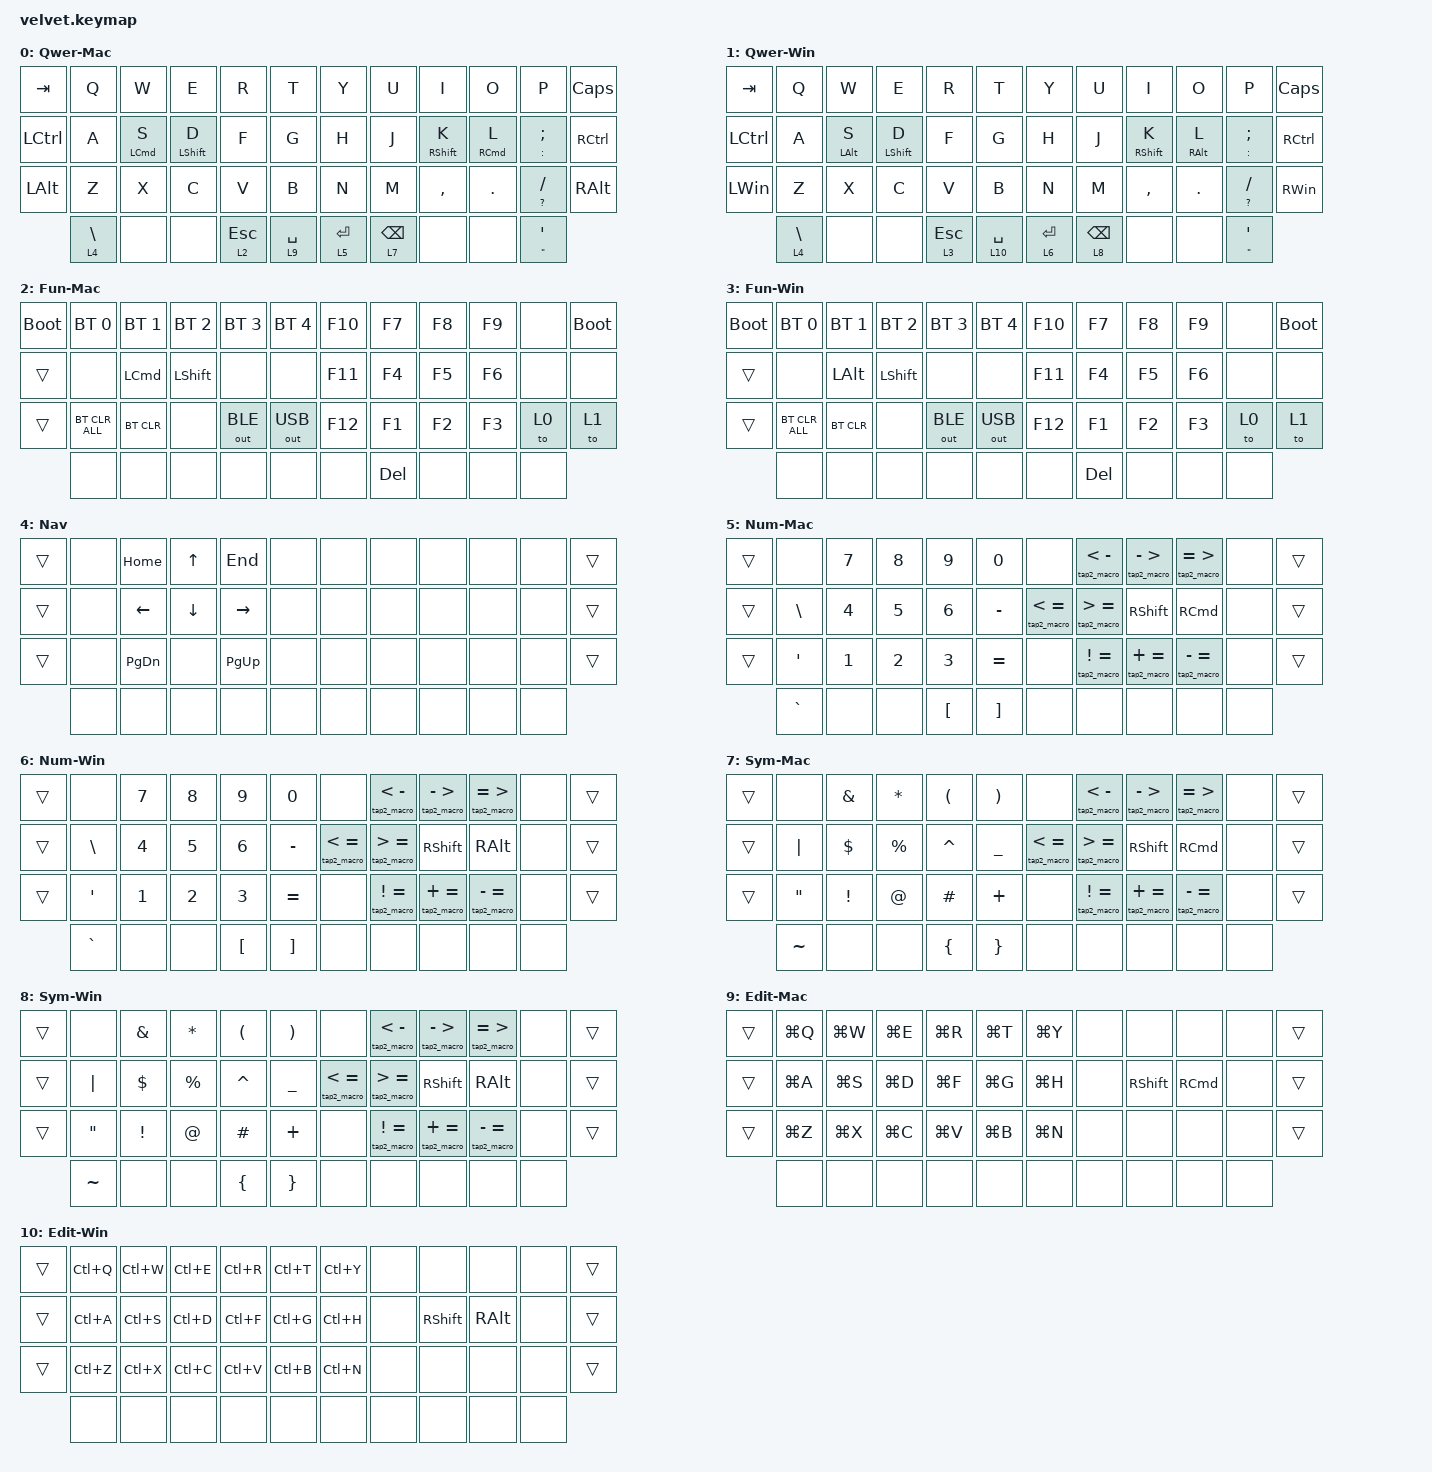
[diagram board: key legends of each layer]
/*
 * Copyright (c) 2020 The ZMK Contributors
 *
 * SPDX-License-Identifier: MIT
 */

#include <behaviors.dtsi>
#include <dt-bindings/zmk/bt.h>
#include <dt-bindings/zmk/keys.h>
#include <dt-bindings/zmk/outputs.h>

/ {
    behaviors {
        as: autoshift {
            compatible = "zmk,behavior-hold-tap";
            label = "AUTOSHIFT";
            bindings = <&kp>, <&kp>;

            #binding-cells = <2>;
            tapping-term-ms = <170>;
            quick-tap-ms = <130>;
            require-prior-idle-ms = <100>;
            flavor = "tap-preferred";
        };

        hml: hrm_left {
            compatible = "zmk,behavior-hold-tap";
            label = "HRM_LEFT";
            bindings = <&kp>, <&kp>;

            #binding-cells = <2>;
            tapping-term-ms = <220>;
            quick-tap-ms = <175>;
            require-prior-idle-ms = <60>;
            flavor = "balanced";
            hold-trigger-key-positions = <30 18 8 7 32 21 23 44 43 45 41 42 31 19 6 20 9 33 34 22 10 11 35>;
            hold-trigger-on-release;
        };

        hmr: hrm_right {
            compatible = "zmk,behavior-hold-tap";
            label = "HRM_RIGHT";
            bindings = <&kp>, <&kp>;

            #binding-cells = <2>;
            tapping-term-ms = <220>;
            quick-tap-ms = <175>;
            require-prior-idle-ms = <60>;
            flavor = "balanced";
            hold-trigger-on-release;
            hold-trigger-key-positions = <26 13 24 1 0 12 3 4 2 5 14 15 29 17 16 25 38 37 27 28 39 40 36>;
        };

        mol: mo_left {
            compatible = "zmk,behavior-hold-tap";
            label = "MO_LEFT";
            bindings = <&mo>, <&kp>;

            #binding-cells = <2>;
            tapping-term-ms = <220>;
            quick-tap-ms = <175>;
            require-prior-idle-ms = <60>;
            flavor = "balanced";
            hold-trigger-key-positions = <19 21 30 31 43 32 33 44 34 35 23 22 10 11 9 8 20 7 6 18 42 41 45>;
            hold-trigger-on-release;
        };

        mor: mo_right {
            compatible = "zmk,behavior-hold-tap";
            label = "MO_RIGHT";
            bindings = <&mo>, <&kp>;

            #binding-cells = <2>;
            tapping-term-ms = <220>;
            quick-tap-ms = <175>;
            require-prior-idle-ms = <60>;
            flavor = "balanced";
            hold-trigger-key-positions = <26 13 24 1 0 12 3 4 2 5 14 15 29 17 16 25 38 37 27 28 39 40 36>;
            hold-trigger-on-release;
        };
    };

    macros {
        tap2_macro: tap2_macro {
            compatible = "zmk,behavior-macro-two-param";
            label = "TAP2_MACRO";
            #binding-cells = <2>;
            bindings =
                <&macro_param_1to1>,
                <&macro_tap>,
                <&kp MACRO_PLACEHOLDER &macro_param_2to1>,
                <&macro_tap>,
                <&kp MACRO_PLACEHOLDER>;
        };
    };

    keymap {
        compatible = "zmk,keymap";

        Qwer-Mac {
            bindings = <
&kp TAB           &kp Q             &kp W            &kp E              &kp R       &kp T         &kp Y          &kp U             &kp I               &kp O             &kp P                           &kp CAPSLOCK
&kp LEFT_CONTROL  &kp A             &hml LCMD     S  &hml LEFT_SHIFT D  &kp F       &kp G         &kp H          &kp J             &hmr RIGHT_SHIFT K  &hmr RCMD      L  &as COLON SEMI                  &kp RIGHT_CONTROL
&kp LALT          &kp Z             &kp X            &kp C              &kp V       &kp B         &kp N          &kp M             &kp COMMA           &kp DOT           &as QUESTION SLASH              &kp RALT
                  &mor 4 BACKSLASH  &none            &none              &mol 2 ESC  &mor 9 SPACE  &mor 5 RETURN  &mor 7 BACKSPACE  &none               &none             &as DOUBLE_QUOTES SINGLE_QUOTE
            >;
        };

        Qwer-Win {
            bindings = <
&kp TAB           &kp Q             &kp W            &kp E              &kp R       &kp T         &kp Y          &kp U             &kp I               &kp O             &kp P                           &kp CAPSLOCK
&kp LEFT_CONTROL  &kp A             &hml LEFT_ALT S  &hml LEFT_SHIFT D  &kp F       &kp G         &kp H          &kp J             &hmr RIGHT_SHIFT K  &hmr RIGHT_ALT L  &as COLON SEMI                  &kp RIGHT_CONTROL
&kp LWIN          &kp Z             &kp X            &kp C              &kp V       &kp B         &kp N          &kp M             &kp COMMA           &kp DOT           &as QUESTION SLASH              &kp RWIN
                  &mor 4 BACKSLASH  &none            &none              &mol 3 ESC  &mor 10 SPACE &mor 6 RETURN  &mor 8 BACKSPACE  &none               &none             &as DOUBLE_QUOTES SINGLE_QUOTE
            >;
        };

        Fun-Mac {
            bindings = <
&bootloader  &bt BT_SEL 0    &bt BT_SEL 1  &bt BT_SEL 2    &bt BT_SEL 3  &bt BT_SEL 4  &kp F10  &kp F7      &kp F8  &kp F9  &none  &bootloader
&trans       &none           &kp LCMD      &kp LEFT_SHIFT  &none         &none         &kp F11  &kp F4      &kp F5  &kp F6  &none  &none
&trans       &bt BT_CLR_ALL  &bt BT_CLR    &none           &out OUT_BLE  &out OUT_USB  &kp F12  &kp F1      &kp F2  &kp F3  &to 0  &to 1
             &none           &none         &none           &none         &none         &none    &kp DELETE  &none   &none   &none
            >;
        };

        Fun-Win {
            bindings = <
&bootloader  &bt BT_SEL 0    &bt BT_SEL 1  &bt BT_SEL 2    &bt BT_SEL 3  &bt BT_SEL 4  &kp F10  &kp F7      &kp F8  &kp F9  &none  &bootloader
&trans       &none           &kp LEFT_ALT  &kp LEFT_SHIFT  &none         &none         &kp F11  &kp F4      &kp F5  &kp F6  &none  &none
&trans       &bt BT_CLR_ALL  &bt BT_CLR    &none           &out OUT_BLE  &out OUT_USB  &kp F12  &kp F1      &kp F2  &kp F3  &to 0  &to 1
             &none           &none         &none           &none         &none         &none    &kp DELETE  &none   &none   &none
            >;
        };

        Nav {
            bindings = <
&trans  &none  &kp HOME        &kp UP_ARROW    &kp END          &none  &none  &none  &none  &none  &none  &trans
&trans  &none  &kp LEFT_ARROW  &kp DOWN_ARROW  &kp RIGHT_ARROW  &none  &none  &none  &none  &none  &none  &trans
&trans  &none  &kp PAGE_DOWN   &none           &kp PAGE_UP      &none  &none  &none  &none  &none  &none  &trans
        &none  &none           &none           &none            &none  &none  &none  &none  &none  &none
            >;
        };

        Num-Mac {
            bindings = <
&trans  &none             &kp N7  &kp N8  &kp N9            &kp N0             &none                        &tap2_macro LESS_THAN MINUS     &tap2_macro MINUS GREATER_THAN  &tap2_macro EQUAL GREATER_THAN  &none  &trans
&trans  &kp BACKSLASH     &kp N4  &kp N5  &kp N6            &kp MINUS          &tap2_macro LESS_THAN EQUAL  &tap2_macro GREATER_THAN EQUAL  &kp RIGHT_SHIFT                 &kp RCMD                        &none  &trans
&trans  &kp SINGLE_QUOTE  &kp N1  &kp N2  &kp N3            &kp EQUAL          &none                        &tap2_macro EXCL EQUAL          &tap2_macro PLUS EQUAL          &tap2_macro MINUS EQUAL         &none  &trans
        &kp GRAVE         &none   &none   &kp LEFT_BRACKET  &kp RIGHT_BRACKET  &none                        &none                           &none                           &none                           &none
            >;
        };

        Num-Win {
            bindings = <
&trans  &none             &kp N7  &kp N8  &kp N9            &kp N0             &none                        &tap2_macro LESS_THAN MINUS     &tap2_macro MINUS GREATER_THAN  &tap2_macro EQUAL GREATER_THAN  &none  &trans
&trans  &kp BACKSLASH     &kp N4  &kp N5  &kp N6            &kp MINUS          &tap2_macro LESS_THAN EQUAL  &tap2_macro GREATER_THAN EQUAL  &kp RIGHT_SHIFT                 &kp RIGHT_ALT                   &none  &trans
&trans  &kp SINGLE_QUOTE  &kp N1  &kp N2  &kp N3            &kp EQUAL          &none                        &tap2_macro EXCL EQUAL          &tap2_macro PLUS EQUAL          &tap2_macro MINUS EQUAL         &none  &trans
        &kp GRAVE         &none   &none   &kp LEFT_BRACKET  &kp RIGHT_BRACKET  &none                        &none                           &none                           &none                           &none
            >;
        };

        Sym-Mac {
            bindings = <
&trans  &none              &kp AMPERSAND    &kp ASTERISK  &kp LEFT_PARENTHESIS  &kp RIGHT_PARENTHESIS  &none                        &tap2_macro LESS_THAN MINUS     &tap2_macro MINUS GREATER_THAN  &tap2_macro EQUAL GREATER_THAN  &none  &trans
&trans  &kp PIPE           &kp DOLLAR       &kp PERCENT   &kp CARET             &kp UNDERSCORE         &tap2_macro LESS_THAN EQUAL  &tap2_macro GREATER_THAN EQUAL  &kp RIGHT_SHIFT                 &kp RCMD                        &none  &trans
&trans  &kp DOUBLE_QUOTES  &kp EXCLAMATION  &kp AT        &kp HASH              &kp PLUS               &none                        &tap2_macro EXCL EQUAL          &tap2_macro PLUS EQUAL          &tap2_macro MINUS EQUAL         &none  &trans
        &kp TILDE          &none            &none         &kp LEFT_BRACE        &kp RIGHT_BRACE        &none                        &none                           &none                           &none                           &none
            >;
        };

        Sym-Win {
            bindings = <
&trans  &none              &kp AMPERSAND    &kp ASTERISK  &kp LEFT_PARENTHESIS  &kp RIGHT_PARENTHESIS  &none                        &tap2_macro LESS_THAN MINUS     &tap2_macro MINUS GREATER_THAN  &tap2_macro EQUAL GREATER_THAN  &none  &trans
&trans  &kp PIPE           &kp DOLLAR       &kp PERCENT   &kp CARET             &kp UNDERSCORE         &tap2_macro LESS_THAN EQUAL  &tap2_macro GREATER_THAN EQUAL  &kp RIGHT_SHIFT                 &kp RIGHT_ALT                   &none  &trans
&trans  &kp DOUBLE_QUOTES  &kp EXCLAMATION  &kp AT        &kp HASH              &kp PLUS               &none                        &tap2_macro EXCL EQUAL          &tap2_macro PLUS EQUAL          &tap2_macro MINUS EQUAL         &none  &trans
        &kp TILDE          &none            &none         &kp LEFT_BRACE        &kp RIGHT_BRACE        &none                        &none                           &none                           &none                           &none
            >;
        };

        Edit-Mac {
            bindings = <
&trans  &kp LG(Q)  &kp LG(W)  &kp LG(E)  &kp LG(R)  &kp LG(T)  &kp LG(Y)  &none  &none            &none          &none  &trans
&trans  &kp LG(A)  &kp LG(S)  &kp LG(D)  &kp LG(F)  &kp LG(G)  &kp LG(H)  &none  &kp RIGHT_SHIFT  &kp RCMD       &none  &trans
&trans  &kp LG(Z)  &kp LG(X)  &kp LG(C)  &kp LG(V)  &kp LG(B)  &kp LG(N)  &none  &none            &none          &none  &trans
        &none      &none      &none      &none      &none      &none      &none  &none            &none          &none
            >;
        };

        Edit-Win {
            bindings = <
&trans  &kp LC(Q)  &kp LC(W)  &kp LC(E)  &kp LC(R)  &kp LC(T)  &kp LC(Y)  &none  &none            &none          &none  &trans
&trans  &kp LC(A)  &kp LC(S)  &kp LC(D)  &kp LC(F)  &kp LC(G)  &kp LC(H)  &none  &kp RIGHT_SHIFT  &kp RIGHT_ALT  &none  &trans
&trans  &kp LC(Z)  &kp LC(X)  &kp LC(C)  &kp LC(V)  &kp LC(B)  &kp LC(N)  &none  &none            &none          &none  &trans
        &none      &none      &none      &none      &none      &none      &none  &none            &none          &none
            >;
        };
    };
};
